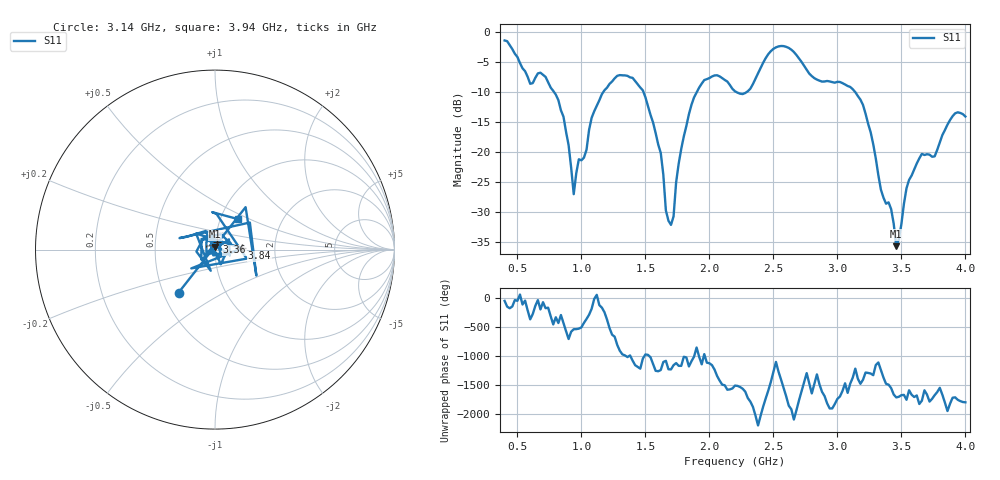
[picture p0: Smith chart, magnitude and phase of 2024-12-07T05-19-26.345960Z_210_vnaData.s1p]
!Created with skrf (http://scikit-rf.org).
# Hz S RI R 50.0
!freq ReS11 ImS11
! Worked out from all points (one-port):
!   181 points, 400 MHz to 4 GHz, reference 50 ohm
!   lowest |S11| = -35.7 dB at 3.46 GHz (marker M1), VSWR 1.03, Z = 49.9 + j1.64 ohm
!   |S11| at or under -10 dB: 785 MHz to 1.172 GHz (387.2 MHz wide, 39.6 % of centre); 1.484 GHz to 1.902 GHz (418 MHz wide, 24.7 % of centre); 3.138 GHz to end of sweep (the widest 3 of 4)
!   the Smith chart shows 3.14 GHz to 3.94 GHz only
!   S11 on the Smith chart (normalised r, x): 3.14 GHz: 0.60, -0.32; 3.36 GHz: 1.02, +0.08; 3.84 GHz: 1.36, +0.02; 3.94 GHz: 1.22, +0.43
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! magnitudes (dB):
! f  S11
! 400 MHz  -1.5
! 600 MHz  -8.7
! 720 MHz  -7.5
! 860 MHz  -14.1
! 940 MHz  -27.0
! 1.08 GHz  -14.3
! 1.3 GHz  -7.2
! 1.5 GHz  -10.9
! 1.62 GHz  -20.2
! 1.66 GHz  -29.7
! 1.7 GHz  -32.1
! 1.76 GHz  -22.0
! 1.86 GHz  -12.2
! 1.96 GHz  -8.0
! 2.2 GHz  -9.9
! 2.32 GHz  -9.5
! 2.5 GHz  -2.9
! 2.66 GHz  -3.4
! 3.1 GHz  -9.2
! 3.14 GHz  -10.1
! 3.26 GHz  -16.7
! 3.36 GHz  -27.6
! 3.42 GHz  -29.5
! 3.46 GHz  -35.7
! 3.56 GHz  -24.7
! 3.84 GHz  -16.4
! 3.94 GHz  -13.4
! 4 GHz  -14.1
